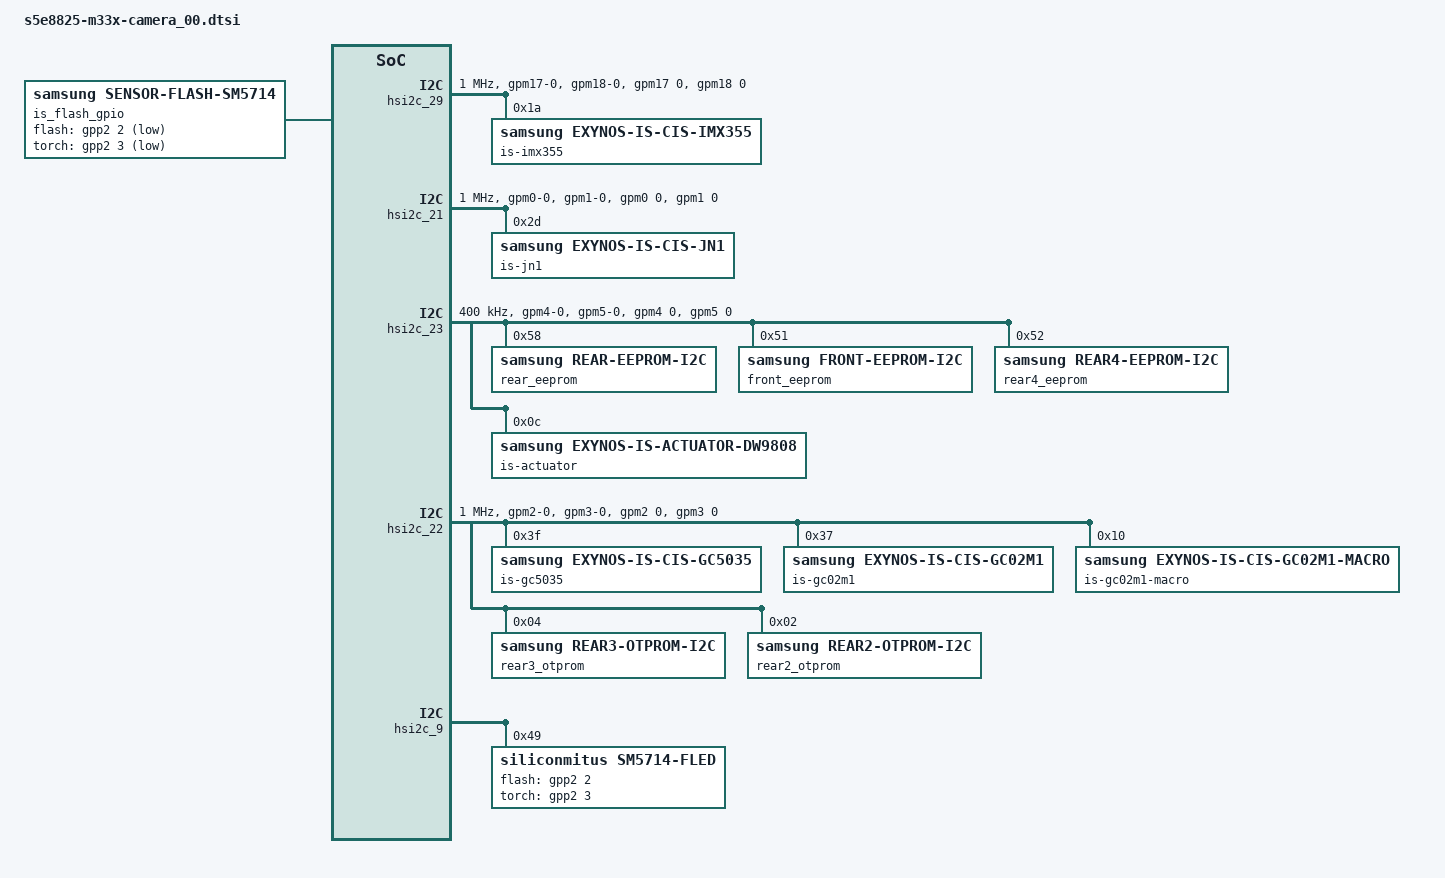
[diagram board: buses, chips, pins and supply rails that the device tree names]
/*
 * Samsung Exynos SoC series Pablo driver
 *
 * Copyright (c) 2021 Samsung Electronics Co., Ltd
 *
 * This program is free software; you can redistribute it and/or modify
 * it under the terms of the GNU General Public License version 2 as
 * published by the Free Software Foundation.
 */

#include <dt-bindings/camera/exynos_is_dt.h>

#include "module_jn1.dtsi"
#include "module_gc5035.dtsi"
#include "module_gc02m1.dtsi"
#include "module_imx355.dtsi"

/ {
	fragment@camera {
		target-path = "/";
		__overlay__ {
			#address-cells = <2>;
			#size-cells = <1>;
			interrupt-parent = <&gic>;

			is_sensor_jn1: is_sensor_jn1@2D {
				power_seq {
					scenario_normal_on {
						20 { pname = "VDDIO_1.8V_CAM"; pin = <PIN_REGULATOR 1 0>; share = <SRT_ACQUIRE SHARED_PIN3 1>; };
					};

					scenario_normal_off {
						90 { pname = "VDDIO_1.8V_CAM"; pin = <PIN_REGULATOR 0 0>; share = <SRT_RELEASE SHARED_PIN3 0>;};
					};

					scenario_read_rom_on {
						20 { pname = "VDDIO_1.8V_CAM"; pin = <PIN_REGULATOR 1 6000>; share = <SRT_ACQUIRE SHARED_PIN3 1>; };
					};

					scenario_read_rom_off {
						90 { pname = "VDDIO_1.8V_CAM"; pin = <PIN_REGULATOR 0 20000>; share = <SRT_RELEASE SHARED_PIN3 0>;};
					};
				};
			};

			/* Front */
			is_sensor_imx355: is_sensor_imx355@34 {
				power_seq {
					scenario_normal_on {
						20 { pname = "VDDIO_1.8V_CAM"; pin = <PIN_REGULATOR 1 500>; share = <SRT_ACQUIRE SHARED_PIN3 1>;};
						80 { pname = "MCLK"; pin = <PIN_MCLK 1 12000>; share = <SRT_ACQUIRE SHARED_PIN2 1>;};
					};

					scenario_normal_off {
						50 { pname = "VDDIO_1.8V_CAM"; pin = <PIN_REGULATOR 0 500>; share = <SRT_RELEASE SHARED_PIN3 0>;};
						60 { pname = "MCLK"; pin = <PIN_MCLK 0 0>; share = <SRT_RELEASE SHARED_PIN2 0>;};
					};

					scenario_read_rom_on {
						10 { pname = "VDDIO_1.8V_CAM"; pin = <PIN_REGULATOR 1 6000>; share = <SRT_ACQUIRE SHARED_PIN3 1>; };
					};

					scenario_read_rom_off {
						20 { pname = "VDDIO_1.8V_CAM"; pin = <PIN_REGULATOR 0 20000>; share = <SRT_RELEASE SHARED_PIN3 0>; };
					};

				};
			};

			/* Bokeh */
			is_sensor_gc02m1: is_sensor_gc02m1@6e {
				power_seq {
					scenario_normal_on {
						20 { pname = "VDDIO_1.8V_CAM"; pin = <PIN_REGULATOR 1 6000>; share = <SRT_ACQUIRE SHARED_PIN3 1>;};
						30 { pname = "rcam3_rcam4_ldo_2p8_en"; pin = <PIN_OUTPUT 1 2000>; share = <SRT_ACQUIRE SHARED_PIN1 1>;};
						60 { pname = "MCLK"; pin = <PIN_MCLK 1 12000>; gpio = <&gpg0 4 0x1>; share = <SRT_ACQUIRE SHARED_PIN4 1>; };
					};

					scenario_normal_off {
						40 { pname = "rcam3_rcam4_ldo_2p8_en"; pin = <PIN_OUTPUT 0 0>; share = <SRT_RELEASE SHARED_PIN1 0>; };
						50 { pname = "VDDIO_1.8V_CAM"; pin = <PIN_REGULATOR 0 20000>; share = <SRT_RELEASE SHARED_PIN3 0>; };
						55 { pname = "MCLK"; pin = <PIN_MCLK 0 0>; gpio = <&gpg0 4 0x1>; share = <SRT_RELEASE SHARED_PIN4 0>; };
					};

					scenario_read_rom_on {
						20 { pname = "VDDIO_1.8V_CAM"; pin = <PIN_REGULATOR 1 6000>; share = <SRT_ACQUIRE SHARED_PIN3 1>;};
						30 { pname = "rcam3_rcam4_ldo_2p8_en"; pin = <PIN_OUTPUT 1 2000>; share = <SRT_ACQUIRE SHARED_PIN1 1>;};
						60 { pname = "MCLK"; pin = <PIN_MCLK 1 12000>; gpio = <&gpg0 4 0x1>; share = <SRT_ACQUIRE SHARED_PIN4 1>; };
					};

					scenario_read_rom_off {
						40 { pname = "rcam3_rcam4_ldo_2p8_en"; pin = <PIN_OUTPUT 0 0>; share = <SRT_RELEASE SHARED_PIN1 0>; };
						50 { pname = "VDDIO_1.8V_CAM"; pin = <PIN_REGULATOR 0 20000>; share = <SRT_RELEASE SHARED_PIN3 0>; };
						55 { pname = "MCLK"; pin = <PIN_MCLK 0 0>; gpio = <&gpg0 4 0x1>; share = <SRT_RELEASE SHARED_PIN4 0>; };
					};

				};
			};

			/* UW */
			is_sensor_gc5035: is_sensor_gc5035@7E {
				power_seq {
					scenario_normal_on {
						20 { pname = "VDDIO_1.8V_CAM"; pin = <PIN_REGULATOR 1 6000>; share = <SRT_ACQUIRE SHARED_PIN3 1>;};
						80 { pname = "MCLK"; pin = <PIN_MCLK 1 12000>; gpio = <&gpg0 4 0x1>; share = <SRT_ACQUIRE SHARED_PIN4 1>; };
					};

					scenario_normal_off {
						50 { pname = "VDDIO_1.8V_CAM"; pin = <PIN_REGULATOR 0 20000>; share = <SRT_RELEASE SHARED_PIN3 0>;};
						60 { pname = "MCLK"; pin = <PIN_MCLK 0 0>; gpio = <&gpg0 4 0x1>; share = <SRT_RELEASE SHARED_PIN4 0>; };
					};

					scenario_read_rom_on {
						20 { pname = "VDDIO_1.8V_CAM"; pin = <PIN_REGULATOR 1 6000>; share = <SRT_ACQUIRE SHARED_PIN3 1>;};
						80 { pname = "MCLK"; pin = <PIN_MCLK 1 12000>; gpio = <&gpg0 4 0x1>; share = <SRT_ACQUIRE SHARED_PIN4 1>; };
					};

					scenario_read_rom_off {
						50 { pname = "VDDIO_1.8V_CAM"; pin = <PIN_REGULATOR 0 20000>; share = <SRT_RELEASE SHARED_PIN3 0>;};
						60 { pname = "MCLK"; pin = <PIN_MCLK 0 2000>; gpio = <&gpg0 4 0x1>; share = <SRT_RELEASE SHARED_PIN4 0>; };
					};
				};
			};

			/* Macro */
			is_sensor_gc02m1_macro: is_sensor_gc02m1_macro@20 {
				power_seq {
					scenario_normal_on {
						20 { pname = "VDDIO_1.8V_CAM"; pin = <PIN_REGULATOR 1 2000>; share = <SRT_ACQUIRE SHARED_PIN3 1>;};
						30 { pname = "rcam3_rcam4_ldo_2p8_en"; pin = <PIN_OUTPUT 1 2000>; share = <SRT_ACQUIRE SHARED_PIN1 1>; };
						60 { pname = "MCLK"; pin = <PIN_MCLK 1 12000>; share = <SRT_ACQUIRE SHARED_PIN2 1>; };
					};

					scenario_normal_off {
						40 { pname = "rcam3_rcam4_ldo_2p8_en"; pin = <PIN_OUTPUT 0 0>; share = <SRT_RELEASE SHARED_PIN1 0>;};
						50 { pname = "VDDIO_1.8V_CAM"; pin = <PIN_REGULATOR 0 500>; share = <SRT_RELEASE SHARED_PIN3 0>;};
						55 { pname = "MCLK"; pin = <PIN_MCLK 0 0>; share = <SRT_RELEASE SHARED_PIN2 0>;};
					};

					scenario_read_rom_on {
						10 { pname = "VDDIO_1.8V_CAM"; pin = <PIN_REGULATOR 1 6000>; share = <SRT_ACQUIRE SHARED_PIN3 1>; };
					};

					scenario_read_rom_off {
						20 { pname = "VDDIO_1.8V_CAM"; pin = <PIN_REGULATOR 0 20000>; share = <SRT_RELEASE SHARED_PIN3 0>;};
					};
				};
			};

			is_flash_gpio: is-flash-gpio@0 {
				compatible = "samsung,sensor-flash-sm5714";
				sensor-module = <&is_sensor_jn1>,<&is_sensor_gc02m1_macro>;
				id = <0 3>;
				status = "okay";
				flash-gpio = <&gpp2 2 0x1>;
				torch-gpio = <&gpp2 3 0x1>;
			};

			/* REAR CAMERA */
			is_sensor0: is_sensor0@15030000 {
				#address-cells = <1>;
				#size-cells = <1>;
				scenario = <SENSOR_SCENARIO_NORMAL>;	/* Normal, Vision, OIS etc */
				id = <0>;
				csi_ch = <0>;
				status = "okay";
				use_cphy = <0>;

				interrupts = <0 INTREQ__CSIS0 IRQ_TYPE_LEVEL_HIGH>; /*MIPI-CSI0 */
				interrupt-names = "csi";
				phys = <&mipi_phy_csis0_m0s4s4s4s4s2s1 0>;
				phy_setfile = <&d_phy_setfile>;
			};

			/* Bokeh CAMERA */
			is_sensor1: is_sensor1@15040000 {
				#address-cells = <1>;
				#size-cells = <1>;
				reg = <0x0 0x15060000 0x1000>, /* MIPI-CSI3 */
					<0x0 0x150F0000 0x10000>; /* PHY: M0S4S4S4S4S2S1 */
				scenario = <SENSOR_SCENARIO_NORMAL>;    /* Normal, Vision, OIS etc */
				id = <2>;
				csi_ch = <3>;
				status = "okay";
				use_cphy = <0>;

				interrupts = <0 INTREQ__CSIS3 IRQ_TYPE_LEVEL_HIGH>; /* MIPI-CSI3 */
				interrupt-names = "csi";
				phys = <&mipi_phy_csis3_m0s4s4s4s4s2s1 0>;
				phy_setfile = <&d_phy_setfile>;
			};

			/* UW CAMERA */
			is_sensor2: is_sensor2@15050000 {
				#address-cells = <1>;
				#size-cells = <1>;
				reg = <0x0 0x15040000 0x1000>, /* MIPI-CSI1 */
					<0x0 0x150F0000 0x10000>; /* PHY: M0S4S4S4S4S2S1 */
				scenario = <SENSOR_SCENARIO_NORMAL>;    /* Normal, Vision, OIS etc */
				id = <4>;
				csi_ch = <1>;
				status = "okay";

				interrupts = <0 INTREQ__CSIS1 IRQ_TYPE_LEVEL_HIGH>; /* MIPI-CSI1 */
				interrupt-names = "csi";
				phys = <&mipi_phy_csis1_m0s4s4s4s4s2s1 0>;
				phy_setfile = <&d_phy_setfile>;
			};

			/* FRONT CAMERA */
			is_sensor4: is_sensor4@15070000 {
				#address-cells = <1>;
				#size-cells = <1>;
				reg = <0x0 0x15050000 0x1000>, /* MIPI-CSI2 */
					<0x0 0x150F0000 0x10000>; /* PHY: M0S4S4S4S4S2S1 */
				scenario = <SENSOR_SCENARIO_NORMAL>;    /* Normal, Vision, OIS etc */
				id = <1>;
				csi_ch = <2>;
				status = "okay";

				interrupts = <0 INTREQ__CSIS2 IRQ_TYPE_LEVEL_HIGH>; /* MIPI-CSI2 */
				phys = <&mipi_phy_csis2_m0s4s4s4s4s2s1 0>;
				phy_setfile = <&d_phy_setfile>;
			};

			/* Macro CAMERA */
			is_sensor3: is_sensor3@15060000 {
				#address-cells = <1>;
				#size-cells = <1>;
				reg = <0x0 0x15070000 0x1000>, /* MIPI-CSI4 */
					<0x0 0x150F0000 0x10000>; /* PHY: M0S4S4S4S4S2S1 */
				scenario = <SENSOR_SCENARIO_NORMAL>;    /* Normal, Vision, OIS etc */
				id = <3>;
				csi_ch = <4>;
				status = "okay";

				interrupts = <0 INTREQ__CSIS4 IRQ_TYPE_LEVEL_HIGH>; /* MIPI-CSI2 */
				phys = <&mipi_phy_csis4_m0s4s4s4s4s2s1 0>;
				phy_setfile = <&phy_setfile_e>;
			};
		}; /* end of __overlay__ */
	}; /* end of fragment */
}; /* end of root */

/***** reference symbol node *****/
/* GPIO_PERI */
&pinctrl_1 {
	/* FRONT I2C */
	hsi2c29_bus: hsi2c29-bus {
		samsung,pins = "gpm17-0", "gpm18-0";
		samsung,pin-function = <2>; /* 0: Input, 1: Output, 2: Func */
		samsung,pin-pud = <3>;      /* 0: NP, 1: PD, 2: Reserved, 3: PU */
		samsung,pin-drv = <0>;      /* 0: x1, 1: x2, 2: x3, 3: x4 */
	};

	hsi2c29_bus_in: hsi2c29-bus-in {
		samsung,pins = "gpm17-0", "gpm18-0";
		samsung,pin-function = <0>; /* 0: Input, 1: Output, 2: Func */
		samsung,pin-pud = <0>;      /* 0: NP, 1: PD, 2: Reserved, 3: PU */
		samsung,pin-drv = <0>;      /* 0: x1, 1: x2, 2: x3, 3: x4 */
		samsung,pin-con-pdn = <2>;  /* 0: Output0, 1: Output1, 2: Input, 3:Prev */
		samsung,pin-pud-pdn = <1>;  /* 0: NP, 1: PD, 2: Reserved, 3: PU */
	};

	/* WIDE I2C */
	hsi2c21_bus: hsi2c21-bus {
		samsung,pins = "gpm0-0", "gpm1-0";
		samsung,pin-function = <2>; /* 0: Input, 1: Output, 2: Func */
		samsung,pin-pud = <3>;      /* 0: NP, 1: PD, 2: Reserved, 3: PU */
		samsung,pin-drv = <0>;      /* 0: x1, 1: x2, 2: x3, 3: x4 */
	};

	hsi2c21_bus_in: hsi2c21-bus-in {
		samsung,pins = "gpm0-0", "gpm1-0";
		samsung,pin-function = <0>; /* 0: Input, 1: Output, 2: Func */
		samsung,pin-pud = <0>;      /* 0: NP, 1: PD, 2: Reserved, 3: PU */
		samsung,pin-drv = <0>;      /* 0: x1, 1: x2, 2: x3, 3: x4 */
		samsung,pin-con-pdn = <2>;  /* 0: Output0, 1: Output1, 2: Input, 3:Prev */
		samsung,pin-pud-pdn = <1>;  /* 0: NP, 1: PD, 2: Reserved, 3: PU */
	};

	/* BOKEH_UW_MACRO I2C */
	hsi2c22_bus: hsi2c22-bus {
		samsung,pins = "gpm2-0", "gpm3-0";
		samsung,pin-function = <3>; /* 0: Input, 1: Output, 2: Func */
		samsung,pin-pud = <3>;      /* 0: NP, 1: PD, 2: Reserved, 3: PU */
		samsung,pin-drv = <0>;      /* 0: x1, 1: x2, 2: x3, 3: x4 */
	};

	hsi2c22_bus_in: hsi2c22-bus-in {
		samsung,pins = "gpm2-0", "gpm3-0";
		samsung,pin-function = <0>; /* 0: Input, 1: Output, 2: Func */
		samsung,pin-pud = <0>;      /* 0: NP, 1: PD, 2: Reserved, 3: PU */
		samsung,pin-drv = <0>;      /* 0: x1, 1: x2, 2: x3, 3: x4 */
		samsung,pin-con-pdn = <2>;  /* 0: Output0, 1: Output1, 2: Input, 3:Prev */
		samsung,pin-pud-pdn = <1>;  /* 0: NP, 1: PD, 2: Reserved, 3: PU */
	};

	/* AF_EEP I2C */
	hsi2c23_bus: hsi2c23-bus {
		samsung,pins = "gpm4-0", "gpm5-0";
		samsung,pin-function = <2>; /* 0: Input, 1: Output, 2: Func */
		samsung,pin-pud = <3>;      /* 0: NP, 1: PD, 2: Reserved, 3: PU */
		samsung,pin-drv = <0>;      /* 0: x1, 1: x2, 2: x3, 3: x4 */
	};

	hsi2c23_bus_in: hsi2c23-bus-in {
		samsung,pins = "gpm4-0", "gpm5-0";
		samsung,pin-function = <0>; /* 0: Input, 1: Output, 2: Func */
		samsung,pin-pud = <0>;      /* 0: NP, 1: PD, 2: Reserved, 3: PU */
		samsung,pin-drv = <0>;      /* 0: x1, 1: x2, 2: x3, 3: x4 */
		samsung,pin-con-pdn = <2>;  /* 0: Output0, 1: Output1, 2: Input, 3:Prev */
		samsung,pin-pud-pdn = <1>;  /* 0: NP, 1: PD, 2: Reserved, 3: PU */
	};

	rcam3_rcam4_ldo_en: rcam3-rcam4-ldo-en {
		samsung,pins = "gpm6-0";
		samsung,pin-function = <1>; /* 0: Input, 1: Output, 2: Func */
		samsung,pin-con-pdn = <0>;  /* 0: Output0, 1: Output1, 2: Input, 3:Prev */
		samsung,pin-pud-pdn = <1>;  /* 0: NP, 1: PD, 2: Reserved, 3: PU */
	};
};

&pinctrl_6 {
	is_flash: is-flash {
		samsung,pins = "gpp2-2", "gpp2-3";
		samsung,pin-function = <1>; /* 0: Input, 1: Output, 2: Func */
		samsung,pin-pud = <1>;      /* 0: NP, 1: PD, 2: Reserved, 3: PU */
		samsung,pin-drv = <0>;      /* 0: x1, 1: x2, 2: x3, 3: x4 */
		samsung,pin-con-pdn = <3>;  /* 0: Output0, 1: Output1, 2: Input, 3:Prev */
	};
};

&hsi2c_29 {
	#address-cells = <1>;
	#size-cells = <0>;
	gpios = <&gpm17 0 0 &gpm18 0 0>;
	status = "okay";
	clock-frequency = <1000000>;
	samsung,reset-before-trans;
	samsung,fast-plus-mode;

	pinctrl-names = "default","on_i2c","off_i2c";
	pinctrl-0 = <&hsi2c29_bus_in>;
	pinctrl-1 = <&hsi2c29_bus>;
	pinctrl-2 = <&hsi2c29_bus_in>;

	is-imx355@34 {
		compatible = "samsung,exynos-is-cis-imx355";
		sensor-module = <&is_sensor_imx355>;
		reg = <0x1A>; /* 1 bit right shift */
		id = <1>; /* matching is_sensor id */
		use_initial_ae; /* for initial AE of face unlock */
		setfile = "setA";
		status = "okay";
		vendor_use_adaptive_mipi;
	};
};

&hsi2c_21 {
	#address-cells = <1>;
	#size-cells = <0>;
	gpios = <&gpm0 0 0 &gpm1 0 0>;
	status = "okay";
	clock-frequency = <1000000>;
	samsung,reset-before-trans;
	samsung,fast-plus-mode;

	pinctrl-names = "default","on_i2c","off_i2c";
	pinctrl-0 = <&hsi2c21_bus_in>;
	pinctrl-1 = <&hsi2c21_bus>;
	pinctrl-2 = <&hsi2c21_bus_in>;

	is-jn1@5A {
		compatible = "samsung,exynos-is-cis-jn1";
		sensor-module = <&is_sensor_jn1>;
		reg = <0x2D>; /* 1 bit right shift */
		id = <0>; /* matching is_sensor id */
		setfile = "setA";
		status = "okay";
		vendor_use_adaptive_mipi;
	};

};

&hsi2c_23 {
	#address-cells = <1>;
	#size-cells = <0>;
	gpios = <&gpm4 0 0 &gpm5 0 0>;
	status = "okay";
	clock-frequency = <400000>;
	samsung,reset-before-trans;

	pinctrl-names = "default","on_i2c","off_i2c";
	pinctrl-0 = <&hsi2c23_bus_in>;
	pinctrl-1 = <&hsi2c23_bus>;
	pinctrl-2 = <&hsi2c23_bus_in>;

	rear_eeprom@58 { /* Rear Wide eeprom */
		compatible = "samsung,rear-eeprom-i2c";
		reg = <0x58>;

		rom_power_position = <0>;
		rom_size = <0x531A>;
		cal_map_es_version = <1>;
		camera_module_es_version = "A";
		/* skip_cal_loading; */

		/* 0 header */
		header_crc_check_list = <0x0000 0x00FB 0x00FC>;

		crc_check_list = <  0x0140 0x21EB 0X21EC
			0x2670 0x26BB 0x26BC
			0x26C0 0x2E7B 0x2E7C
			0x36E0 0x36FB 0x36FC >;
		/* Master */
		rom_header_version_start_addr = <0x6E>;
		rom_header_cal_data_start_addr = <0x08>;
		rom_header_cal_map_ver_start_addr = <0x90>;
		rom_header_project_name_start_addr = <0x98>;
		rom_header_module_id_addr = <0xAE>;
		rom_header_sensor_id_addr = <0xB8>;
		rom_awb_master_addr = <0x36E0>;
#if 0
		/* Dual cal slave 0 - Bokeh DualCal info data (Set Cal) */
		rom_dualcal_slave0_start_addr = <0x1070>;
		rom_dualcal_slave0_size = <0x080C>; /* 2060 */
#endif
		/* Rear Crosstalk Cal data */
		rom_xtc_cal_data_start_addr = <0x0140>;
		rom_xtc_cal_data_size = <0x20AC>;
		rom_xtc_cal_data_addr_list = <0x0140 0x21EB>;
		rear_remosaic_tetra_xtc_start_addr	= <0x14AC>;
		rear_remosaic_tetra_xtc_size		= <0x0A34>;
		rear_remosaic_sensor_xtc_start_addr	= <0x1EE0>;
		rear_remosaic_sensor_xtc_size		= <0x0300>;
		rear_remosaic_pdxtc_start_addr		= <0x0140>;
		rear_remosaic_pdxtc_size			= <0x0FA0>;
		rear_remosaic_sw_ggc_start_addr		= <0x10E0>;
		rear_remosaic_sw_ggc_size			= <0x0272>;

		rom_af_cal_addr = <0x267C 0x2670>; /*AF position inf 0 Near Far */

		use_standard_cal;
		rom_standard_cal_start_addr = <0x0100>;
		rom_standard_cal_end_addr = <0x3AFF>;
		rom_standard_cal_sec2lsi_end_addr = <0x50DF>;
		rom_awb_start_addr = <0x36E0>;
		rom_awb_end_addr = <0x36E7>;
		rom_shading_start_addr = <0x3700>;
		rom_shading_end_addr = <0x3AF8>;
		rom_factory_start_addr = <0x3B00>;
		rom_factory_end_addr = <0x3D39>;

		rom_awb_sec2lsi_start_addr = <0x36E0>;
		rom_awb_sec2lsi_end_addr = <0x36E7>;
		rom_awb_sec2lsi_checksum_addr = <0x36EC>;
		rom_awb_sec2lsi_checksum_len = <0xC>;
		rom_shading_sec2lsi_start_addr = <0x36F0>;
		rom_shading_sec2lsi_end_addr = <0x50D7>;
		rom_shading_sec2lsi_checksum_addr = <0x50DC>;
		rom_shading_sec2lsi_checksum_len = <0x19EC>;
		rom_factory_sec2lsi_start_addr = <0x50E0>;

	};

	front_eeprom@A2 {
		compatible = "samsung,front-eeprom-i2c";
		reg = <0x51>;
		rom_power_position = <1>;
		rom_size = <0x1C86>;
		cal_map_es_version = <1>;
		camera_module_es_version = "A";
		/* skip_cal_loading; */

		/* 0 header */
		header_crc_check_list = <0x0000 0x004B 0x004C>;
		/* 0 cross-talk */
		/* 1 standard cal */
		crc_check_list = <0x0050 0x047B 0x047C>;
		/* Master */
		rom_header_version_start_addr = <0x000A>;
		rom_header_cal_data_start_addr = <0x0000>;
		rom_header_cal_map_ver_start_addr = <0x0016>;
		rom_header_project_name_start_addr = <0x001E>;
		rom_header_module_id_addr = <0x002E>; /* 0x28 + reserved bytes */
		rom_header_sensor_id_addr = <0x0038>;
		rom_awb_master_addr = <0x0060>;

		use_standard_cal;
		rom_standard_cal_start_addr = <0x0050>;
		rom_standard_cal_end_addr = <0x047F>;
		rom_standard_cal_sec2lsi_end_addr = <0x1A5F>;
		rom_awb_start_addr = <0x0060>;
		rom_awb_end_addr = <0x0067>;
		rom_shading_start_addr = <0x0070>;
		rom_shading_end_addr = <0x0468>;
		rom_factory_start_addr = <0x0480>;
		rom_factory_end_addr = <0x06A5>;

		rom_awb_sec2lsi_start_addr = <0x0060>;
		rom_awb_sec2lsi_end_addr = <0x0067>;
		rom_awb_sec2lsi_checksum_addr = <0x006C>;
		rom_awb_sec2lsi_checksum_len = <0xC>;
		rom_shading_sec2lsi_start_addr = <0x0070>;
		rom_shading_sec2lsi_end_addr = <0x1A57>;
		rom_shading_sec2lsi_checksum_addr = <0x1A5C>;
		rom_shading_sec2lsi_checksum_len = <0x19EC>;
		rom_factory_sec2lsi_start_addr = <0x1A60>;
	};

	rear4_eeprom@52 { /* Macro eeprom */
		compatible = "samsung,rear4-eeprom-i2c";
		reg = <0x52>;

		rom_power_position = <6>;
		rom_size = <0x1C86>;
		cal_map_es_version = <1>;
		camera_module_es_version = "A";
		/* skip_cal_loading;*/

		/* 0 header */
		header_crc_check_list = <0x0000 0x004B 0x004C>;
		/* 0 module */
		crc_check_list = <0x0050 0x047B 0x047C>;
		/* Master */
		rom_header_version_start_addr = <0x000A>;
		rom_header_cal_map_ver_start_addr = <0x0016>;
		rom_header_project_name_start_addr = <0x001E>;
		rom_header_module_id_addr = <0x002E>;	/* 0x0028 + reserved bytes */
		rom_header_sensor_id_addr = <0x0038>;
		rom_header_cal_data_start_addr = <0x0050>;

		rom_awb_master_addr = <0x0060>;

		/* standard cal */
		use_standard_cal;
		rom_standard_cal_start_addr = <0x0050>;
		rom_standard_cal_end_addr = <0x047F>;
		rom_standard_cal_sec2lsi_end_addr = <0x1A5F>;
		rom_awb_start_addr = <0x0060>;
		rom_awb_end_addr = <0x0067>;
		rom_shading_start_addr = <0x0070>;
		rom_shading_end_addr = <0x0468>;
		rom_factory_start_addr = <0x0480>;
		rom_factory_end_addr = <0x06A5>;

		rom_awb_sec2lsi_start_addr = <0x0060>;
		rom_awb_sec2lsi_end_addr = <0x0067>;
		rom_awb_sec2lsi_checksum_addr = <0x006C>;
		rom_awb_sec2lsi_checksum_len = <0xC>;
		rom_shading_sec2lsi_start_addr = <0x0070>;
		rom_shading_sec2lsi_end_addr = <0x1A57>;
		rom_shading_sec2lsi_checksum_addr = <0x1A5C>;
		rom_shading_sec2lsi_checksum_len = <0x19EC>;
		rom_factory_sec2lsi_start_addr = <0x1A60>;
	};

	is-actuator@0C {
		compatible = "samsung,exynos-is-actuator-dw9808";
		sensor-module = <&is_sensor_jn1>;
		reg = <0x0C>;
		id = <0>; /* matching is_sensor id */
	};
};

&hsi2c_22 {
	#address-cells = <1>;
	#size-cells = <0>;
	gpios = <&gpm2 0 0 &gpm3 0 0>;
	status = "okay";
	clock-frequency = <1000000>;
	samsung,reset-before-trans;
	samsung,fast-plus-mode;

	pinctrl-names = "default","on_i2c","off_i2c";
	pinctrl-0 = <&hsi2c22_bus_in>;
	pinctrl-1 = <&hsi2c22_bus>;
	pinctrl-2 = <&hsi2c22_bus_in>;

	is-gc5035@7E { /* UW */
		compatible = "samsung,exynos-is-cis-gc5035";
		sensor-module = <&is_sensor_gc5035>;
		reg = <0x3F>; /* 1 bit right shift */
		id = <4>; /* matching is_sensor id */
		setfile = "setB";
		status = "okay";
	};

	is-gc02m1@6e { /* Bokeh */
		compatible = "samsung,exynos-is-cis-gc02m1";
		sensor-module = <&is_sensor_gc02m1>;
		reg = <0x37>; /* 1 bit right shift */
		id = <2>; /* matching is_sensor id */
		setfile = "setB";
		status = "okay";
	};

	is-gc02m1-macro@20 { /* Macro */
		compatible = "samsung,exynos-is-cis-gc02m1-macro";
		sensor-module = <&is_sensor_gc02m1_macro>;
		reg = <0x10>; /* 1 bit right shift */
		id = <3>; /* matching is_sensor id */
		setfile = "setB";
		status = "okay";
	};

	rear3_otprom@7E { /* UW OTPROM */
		compatible = "samsung,rear3-otprom-i2c";
		reg = <0x04>;

		rom_power_position = <4>;
		rom_size = <0xE2E0>;

		cal_map_es_version = <1>;
		camera_module_es_version = "A";
		/* skip_cal_loading;*/

		/* 0 header */
		header_crc_check_list = <0x0000 0x0049 0x004A>;
		crc_check_list = <0x004E 0x00EB 0x00EC>;

		/* Master */
		rom_header_version_start_addr = <0x000A>;
		rom_header_cal_data_start_addr = <0x0000>;
		rom_header_cal_map_ver_start_addr = <0x0016>;
		rom_header_project_name_start_addr = <0x001E>;
		rom_header_module_id_addr = <0x002E>;	/* 0x0028 + reserved bytes */
		rom_header_sensor_id_addr = <0x0038>;
		rom_awb_master_addr = <0x0058>;

		use_standard_cal;
		rom_standard_cal_start_addr = <0x004E>;
		rom_standard_cal_end_addr = <0x00EF>;
		rom_standard_cal_sec2lsi_end_addr = <0x1A57>;
		rom_awb_start_addr = <0x0058>;
		rom_awb_end_addr = <0x005F>;
		rom_shading_start_addr = <0x0062>;
		rom_shading_end_addr = <0x00EA>;

		rom_awb_sec2lsi_start_addr = <0x0058>;
		rom_awb_sec2lsi_end_addr = <0x005F>;
		rom_awb_sec2lsi_checksum_addr = <0x0064>;
		rom_awb_sec2lsi_checksum_len = <0xC>;
		rom_shading_sec2lsi_start_addr = <0x0068>;
		rom_shading_sec2lsi_end_addr = <0x1A4F>;
		rom_shading_sec2lsi_checksum_addr = <0x1A54>;
		rom_shading_sec2lsi_checksum_len = <0x19EC>;
	};

	rear2_otprom@6E { /* Bokeh OTPROM*/
		compatible = "samsung,rear2-otprom-i2c";
		reg = <0x02>;

		rom_power_position = <2>;
		rom_size = <0x0100>;

		cal_map_es_version = <1>;
		camera_module_es_version = "A";
		/* skip_cal_loading;*/

		/* 0 header */
		header_crc_check_list = <0x0 0xC 0xD>;
		/* Master */
		rom_header_version_start_addr = <0x00>;

		/* Bokeh OTPROM does not use standard cal or sec2lsi */
	};
};

&hsi2c_9 {
	sm5714-fled@49 {
		compatible = "siliconmitus,sm5714-fled";
		status = "okay";
		reg = <0x49>;
		flash-gpio = <&gpp2 2 0>;
		torch-gpio = <&gpp2 3 0>;
		flash-brightness = <0xA>; /* 0x0(300mA), 0x1(700mA), 0x2(800mA), 0x3(900mA) ~ 0xF(1500mA) : 50mA Step */
		preflash-brightness = <0x4>;
		torch-brightness = <0x4>; /* 0x0(50mA) ~ 0x7(225mA) : 25mA Step */
		torch-brightness-levels = <0 1 2 5 7>;
		timeout = <0xff>;
	};
};

&exynos_is {
	pinctrl-names = "default","sleep";
	pinctrl-0 = <&is_flash &rcam3_rcam4_ldo_en>;
	pinctrl-1 = <>;

	vender {
		use_module_check;
		use_ois;
		check_sensor_vendor;
		ois_sensor_index = <0>;
		aperture_sensor_index = <0>;
		mcu_sensor_index = <0>;

		is_vendor_sensor_count = <5>;
		max_supported_camera = <6>;
		supported_cameraId = <0 1 23 52 58 60>;
		ois_gyro_list = <0x00 0x00 0x01 0x01 0x01>;
		/*
		* Wide(0)
		* Front(1)
		* U Wide(2)
		* Front 80(3) - not available for factory
		* Front Secure(5) - not available for factory
		* DUAL_REAR_PORTRAIT_WIDE(23)
		* Bokeh(52)
		* Rear_UW(58)
		* Macro(60)
		*/

		/* sysfs camera id */
		max_camera_num = <7>;
		sensor_id { /* sensor position = <sensor_id> */
			0 = <72>;	/* JN1 */
			1 = <128>;	/* IMX355 */
			2 = <214>;	/* GC02M1 */
			4 = <210>;	/* GC5035 */
			6 = <214>;	/* GC02M1 */
		};

		camera_info0 {			/* 0 : sysfs rear */
			internal_id = <0>;	/* 0 : wide */
			isp = <0>;		/* 0 : INT, 1 : EXT, 2 : SOC */
			cal_memory = <2>;	/* 0 : N, 1 : FROM, 2 : EEPROM, 3 : OTP */
			read_version = <0>;	/* 0 : SYSFS, 1 : CAMON */
			core_voltage = <0>;	/* 0 : N, 1 : Y */
			upgrade = <0>;		/* 0 : N, 1 : SYSFS , 2 : CAMON */
			fw_write = <0>;		/* 0 : N, 1 : OS, 2 : SD, 3 : ALL */
			fw_dump = <0>;		/* 0 : N, 1 : Y */
			companion = <0>;	/* 0 : N, 1 : Y */
			ois = <0>;		/* 0 : N, 1 : Y */
			valid = <1>;		/* 0 : INVALID, 1 : VALID */
		};
		camera_info1 {			/* 1 : sysfs front */
			internal_id = <1>;	/* 1 : front master */
			isp = <0>;		/* 0 : INT, 1 : EXT, 2 : SOC */
			cal_memory = <2>;	/* 0 : N, 1 : FROM, 2 : EEPROM, 3 : OTP */
			read_version = <0>;	/* 0 : SYSFS, 1 : CAMON */
			core_voltage = <0>;	/* 0 : N, 1 : Y */
			upgrade = <0>;		/* 0 : N, 1 : SYSFS, 2 : CAMON */
			fw_write = <0>;		/* 0 : N, 1 : OS, 2 : SD, 3 : ALL */
			fw_dump = <0>;		/* 0 : N, 1 : Y */
			companion = <0>;	/* 0 : N, 1 : Y */
			ois = <0>;		/* 0 : N, 1 : Y */
			valid = <1>;		/* 0 : INVALID, 1 : VALID */
		};
		camera_info2 {			/* 2 : sysfs rear2 */
			internal_id = <2>;	/* 2 : ultra wide */
			isp = <0>;		/* 0 : INT, 1 : EXT, 2 : SOC */
			cal_memory = <2>;	/* 0 : N, 1 : FROM, 2 : EEPROM, 3 : OTP */
			read_version = <0>;	/* 0 : SYSFS, 1 : CAMON */
			core_voltage = <0>;	/* 0 : N, 1 : Y */
			upgrade = <0>;		/* 0 : N, 1 : SYSFS, 2 : CAMON */
			fw_write = <0>;		/* 0 : N, 1 : OS, 2 : SD, 3 : ALL */
			fw_dump = <0>;		/* 0 : N, 1 : Y */
			companion = <0>;	/* 0 : N, 1 : Y */
			ois = <0>;		/* 0 : N, 1 : Y */
			valid = <1>;		/* 0 : INVALID, 1 : VALID */
		};
		camera_info4 {			/* 4 : sysfs rear3 */
			internal_id = <4>;	/* 4 : bokeh */
			isp = <0>;		/* 0 : INT, 1 : EXT, 2 : SOC */
			cal_memory = <3>;	/* 0 : N, 1 : FROM, 2 : EEPROM, 3 : OTP */
			read_version = <0>;	/* 0 : SYSFS, 1 : CAMON */
			core_voltage = <0>;	/* 0 : N, 1 : Y */
			upgrade = <0>;		/* 0 : N, 1 : SYSFS, 2 : CAMON */
			fw_write = <0>;		/* 0 : N, 1 : OS, 2 : SD, 3 : ALL */
			fw_dump = <0>;		/* 0 : N, 1 : Y */
			companion = <0>;	/* 0 : N, 1 : Y */
			ois = <0>;		/* 0 : N, 1 : Y */
			valid = <1>;		/* 0 : INVALID, 1 : VALID */
		};
		camera_info6 {			/* 6 : sysfs rear4 */
			internal_id = <6>;	/* 6 : MACRO */
			isp = <0>;		/* 0 : INT, 1 : EXT, 2 : SOC */
			cal_memory = <2>;	/* 0 : N, 1 : FROM, 2 : EEPROM, 3 : OTP */
			read_version = <0>;	/* 0 : SYSFS, 1 : CAMON */
			core_voltage = <0>;	/* 0 : N, 1 : Y */
			upgrade = <0>;		/* 0 : N, 1 : SYSFS, 2 : CAMON */
			fw_write = <0>;		/* 0 : N, 1 : OS, 2 : SD, 3 : ALL */
			fw_dump = <0>;		/* 0 : N, 1 : Y */
			companion = <0>;	/* 0 : N, 1 : Y */
			ois = <0>;		/* 0 : N, 1 : Y */
			valid = <1>;		/* 0 : INVALID, 1 : VALID   */
		};
	};

	lic_offsets {
		/* 3AA = <setA lic offset0, setA lic offset1, set A trigger context */
		/*		setB lic offset0, setB lic offset1, set B trigger context> */
		/* 4672: 4640x4352 */
		/* 5824: 5804x4352 */
		3AA = <5461 10922 0 5461 10922 0>;
	};

	buffer_info {
		ypp_buf_max_width = <4608>;	/* defalut value : 5760 */
	};

	is_dvfs {
		#define CPU_CL0	"0-5"
		#define CPU_CL1	"6-7"
		#define CPU_ALL	"0-7"

		table0 {
			desc = "dvfs table v0.2";

			default_cam = <1>;
			default_isp = <1>;
			default_mif = <1>;
			default_int = <2>;
			default_cpu = CPU_CL0;

			rear_single_photo_mif = <3>;
			rear_single_photo_int = <4>;
			rear_single_photo_cpu = CPU_CL0;

			rear_single_photo_full_mif = <2>;
			rear_single_photo_full_int = <3>;
			rear_single_photo_full_cpu = CPU_CL0;

			rear_single_vt_photo_mif = <2>;
			rear_single_vt_photo_int = <3>;
			rear_single_vt_photo_cpu = CPU_CL0;

			rear_single_video_fhd30_mif = <3>;
			rear_single_video_fhd30_int = <4>;
			rear_single_video_fhd30_cpu = CPU_CL0;

			rear_single_videohdr_mif = <0>;
			rear_single_videohdr_int = <0>;
			rear_single_videohdr_cpu = CPU_CL0;

			rear_single_video_fhd60_mif = <1>;
			rear_single_video_fhd60_int = <4>;
			rear_single_video_fhd60_cpu = CPU_CL0;

			rear_single_video_uhd30_mif = <0>;
			rear_single_video_uhd30_int = <4>;
			rear_single_video_uhd30_cpu = CPU_CL0;

			rear_single_video_uhd60_mif = <0>;
			rear_single_video_uhd60_int = <0>;
			rear_single_video_uhd60_cpu = CPU_CL0;

			rear_single_capture_isp = <1>;
			rear_single_capture_mif = <0>;
			rear_single_capture_int = <1>;
			rear_single_capture_cpu = CPU_CL0;

			rear_single_video_fhd120_mif = <0>;
			rear_single_video_fhd120_int = <3>;
			rear_single_video_fhd120_cpu = CPU_CL0;

			rear_single_video_fhd240_mif = <0>;
			rear_single_video_fhd240_int = <0>;
			rear_single_video_fhd240_hpg = <8>;
			rear_single_video_fhd240_cpu = CPU_CL0;

			rear_single_video_fhd480_mif = <0>;
			rear_single_video_fhd480_int = <0>;
			rear_single_video_fhd480_cpu = CPU_CL0;

			rear_single_video_hd30_mif = <4>;
			rear_single_video_hd30_int = <4>;
			rear_single_video_hd30_cpu = CPU_CL0;

			rear_single_video_hd240_mif = <0>;
			rear_single_video_hd240_int = <4>;
			rear_single_video_hd240_hpg = <8>;
			rear_single_video_hd240_cpu = CPU_CL0;

			rear_single_ssm_isp = <0>;
			rear_single_ssm_mif = <0>;
			rear_single_ssm_int = <0>;
			rear_single_ssm_cpu = CPU_CL0;

			rear_single_video_8k24_mif = <0>;
			rear_single_video_8k24_int = <0>;
			rear_single_video_8k24_cpu = CPU_CL0;

			rear_single_video_8k30_mif = <0>;
			rear_single_video_8k30_int = <0>;
			rear_single_video_8k30_cpu = CPU_CL0;

			rear_single_fastae_mif = <0>;
			rear_single_fastae_int = <0>;
			rear_single_fastae_cpu = CPU_CL0;

			rear_single_remosaic_photo_mif = <3>;
			rear_single_remosaic_photo_int = <4>;
			rear_single_remosaic_photo_cpu = CPU_CL0;

			rear_single_remosaic_capture_cam = <3>;
			rear_single_remosaic_capture_isp = <1>;
			rear_single_remosaic_capture_mif = <0>;
			rear_single_remosaic_capture_int = <1>;
			rear_single_remosaic_capture_cpu = CPU_CL0;

			rear_dual_wide_tele_photo_mif = <3>;
			rear_dual_wide_tele_photo_int = <4>;
			rear_dual_wide_tele_photo_cpu = CPU_CL0;

			rear_dual_wide_ultrawide_photo_mif = <0>;
			rear_dual_wide_ultrawide_photo_int = <0>;
			rear_dual_wide_ultrawide_photo_cpu = CPU_CL0;

			rear_dual_wide_ultrawide_video_fhd30_mif = <0>;
			rear_dual_wide_ultrawide_video_fhd30_int = <0>;
			rear_dual_wide_ultrawide_video_fhd30_cpu = CPU_CL0;

			rear_dual_wide_ultrawide_video_uhd30_mif = <0>;
			rear_dual_wide_ultrawide_video_uhd30_int = <0>;
			rear_dual_wide_ultrawide_video_uhd30_cpu = CPU_CL0;

			rear_dual_wide_ultrawide_capture_isp = <0>;
			rear_dual_wide_ultrawide_capture_mif = <0>;
			rear_dual_wide_ultrawide_capture_int = <0>;
			rear_dual_wide_ultrawide_capture_cpu = CPU_CL0;

			triple_photo_mif = <0>;
			triple_photo_int = <0>;
			triple_photo_cpu = CPU_CL0;

			triple_video_fhd30_mif = <0>;
			triple_video_fhd30_int = <0>;
			triple_video_fhd30_cpu = CPU_CL0;

			triple_video_uhd30_mif = <0>;
			triple_video_uhd30_int = <0>;
			triple_video_uhd30_cpu = CPU_CL0;

			triple_video_fhd60_mif = <0>;
			triple_video_fhd60_int = <0>;
			triple_video_fhd60_cpu = CPU_CL0;

			triple_video_uhd60_mif = <0>;
			triple_video_uhd60_int = <0>;
			triple_video_uhd60_cpu = CPU_CL0;

			triple_capture_isp = <0>;
			triple_capture_mif = <0>;
			triple_capture_int = <0>;
			triple_capture_cpu = CPU_CL0;

			front_single_photo_mif = <4>;
			front_single_photo_int = <4>;
			front_single_photo_cpu = CPU_CL0;

			front_single_photo_full_mif = <2>;
			front_single_photo_full_int = <3>;
			front_single_photo_full_cpu = CPU_CL0;

			front_single_video_fhd30_mif = <3>;
			front_single_video_fhd30_int = <4>;
			front_single_video_fhd30_cpu = CPU_CL0;

			front_single_video_uhd30_mif = <1>;
			front_single_video_uhd30_int = <4>;
			front_single_video_uhd30_cpu = CPU_CL0;

			front_single_video_fhd60_mif = <1>;
			front_single_video_fhd60_int = <3>;
			front_single_video_fhd60_cpu = CPU_CL0;

			front_single_video_uhd60_mif = <0>;
			front_single_video_uhd60_int = <0>;
			front_single_video_uhd60_cpu = CPU_CL0;

			front_single_video_hd30_mif = <4>;
			front_single_video_hd30_int = <4>;
			front_single_video_hd30_cpu = CPU_CL0;

			front_single_capture_isp = <1>;
			front_single_capture_mif = <1>;
			front_single_capture_int = <2>;
			front_single_capture_cpu = CPU_CL0;

			front_single_vt_mif = <2>;
			front_single_vt_int = <3>;
			front_single_vt_cpu = CPU_CL0;

			front_single_secure_isp = <6>;
			front_single_secure_mif = <2>;
			front_single_secure_int = <3>;
			front_single_secure_cpu = CPU_CL0;

			front_single_video_fhd120_mif = <0>;
			front_single_video_fhd120_int = <0>;
			front_single_video_fhd120_cpu = CPU_CL0;

			pip_dual_photo_mif = <0>;
			pip_dual_photo_int = <0>;
			pip_dual_photo_cpu = CPU_CL0;

			pip_dual_capture_isp = <0>;
			pip_dual_capture_mif = <0>;
			pip_dual_capture_int = <0>;
			pip_dual_capture_cpu = CPU_CL0;

			pip_dual_video_fhd30_mif = <0>;
			pip_dual_video_fhd30_int = <0>;
			pip_dual_video_fhd30_cpu = CPU_CL0;

			ext_rear_single_cam = <0>;
			ext_rear_single_isp = <0>;
			ext_rear_single_mif = <0>;
			ext_rear_single_int = <0>;
			ext_rear_single_cpu = CPU_CL0;

			ext_front_secure_cam = <0>;
			ext_front_secure_isp = <0>;
			ext_front_secure_mif = <0>;
			ext_front_secure_int = <0>;
			ext_front_secure_cpu = CPU_CL0;

			max_cam = <0>;
			max_isp = <0>;
			max_mif = <0>;
			max_int = <0>;
			max_cpu = CPU_CL0;
		};
	};
};

